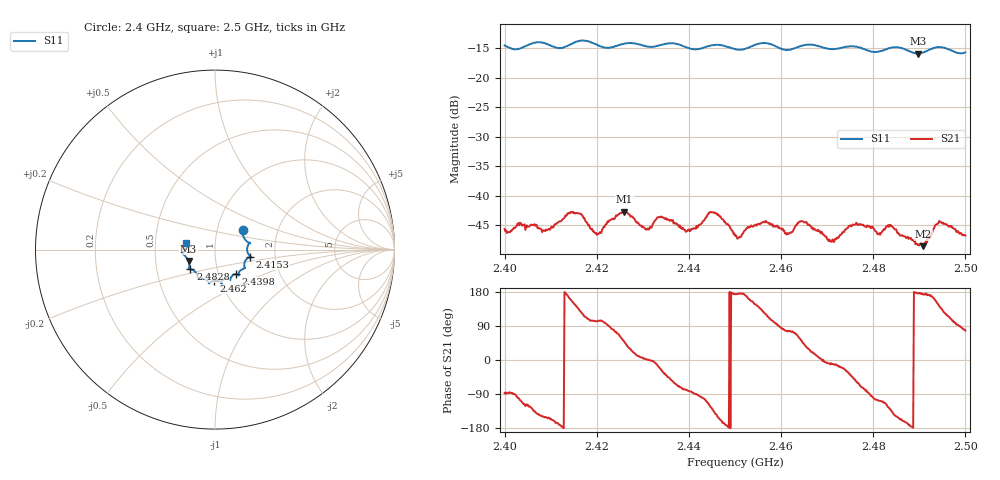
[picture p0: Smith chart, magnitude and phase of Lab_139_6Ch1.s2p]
# Hz S RI R 50
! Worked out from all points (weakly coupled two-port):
!   601 points, 2.4 GHz to 2.5 GHz, reference 50 ohm
!   highest |S21| = -42.72 dB at 2.426 GHz (marker M1); lowest = -48.6 dB at 2.4908 GHz (marker M2)
!   lowest |S11| = -15.9 dB at 2.4897 GHz (marker M3), VSWR 1.38, Z = 36.9 - j4.81 ohm
!   |S11| at or under -10 dB: start of sweep to end of sweep
!   S12 and S22 are empty: the file has one direction only
!   S11 on the Smith chart (normalised r, x): 2.4 GHz: 1.33, +0.29; 2.4153 GHz: 1.48, -0.12; 2.4398 GHz: 1.21, -0.34; 2.462 GHz: 0.93, -0.33; 2.4828 GHz: 0.74, -0.17; 2.5 GHz: 0.72, +0.06
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2.4e9  0.1547 0.1068  0.00027 -0.0052  0 0  0 0
2.408667e9  0.1933 0.0359  -0.00445 -0.00243  0 0  0 0
2.415333e9  0.1967 -0.0388  -0.00582 0.00398  0 0  0 0
2.416667e9  0.2024 -0.0428  -0.004 0.0057  0 0  0 0
2.4205e9  0.18 -0.0494  -0.00112 0.00465  0 0  0 0
2.426e9  0.1667 -0.1009  0.0049 0.00543  0 0  0 0
2.430833e9  0.1448 -0.1139  0.00514 0.000128  0 0  0 0
2.433333e9  0.131 -0.1336  0.00628 -0.0019  0 0  0 0
2.439833e9  0.1155 -0.1363  0.000793 -0.00508  0 0  0 0
2.445167e9  0.0844 -0.1693  -0.00479 -0.0054  0 0  0 0
2.45e9  0.065 -0.1625  -0.00454 0.000506  0 0  0 0
2.456333e9  0.0389 -0.1933  -0.00337 0.00495  0 0  0 0
2.462e9  -0.00526 -0.1731  0.00114 0.0047  0 0  0 0
2.466667e9  -0.0343 -0.1878  0.00495 0.00183  0 0  0 0
2.471167e9  -0.0603 -0.1644  0.00416 -0.000802  0 0  0 0
2.476e9  -0.0944 -0.1583  0.00354 -0.00444  0 0  0 0
2.482833e9  -0.1365 -0.1094  -0.00247 -0.00489  0 0  0 0
2.483333e9  -0.1403 -0.1092  -0.00316 -0.00441  0 0  0 0
2.489667e9  -0.1473 -0.0635  -0.00379 0.000291  0 0  0 0
2.490833e9  -0.1567 -0.0474  -0.00369 0.000457  0 0  0 0
2.494333e9  -0.1809 -0.0217  -0.00485 0.00369  0 0  0 0
2.5e9  -0.1594 0.0391  0.000984 0.00447  0 0  0 0
